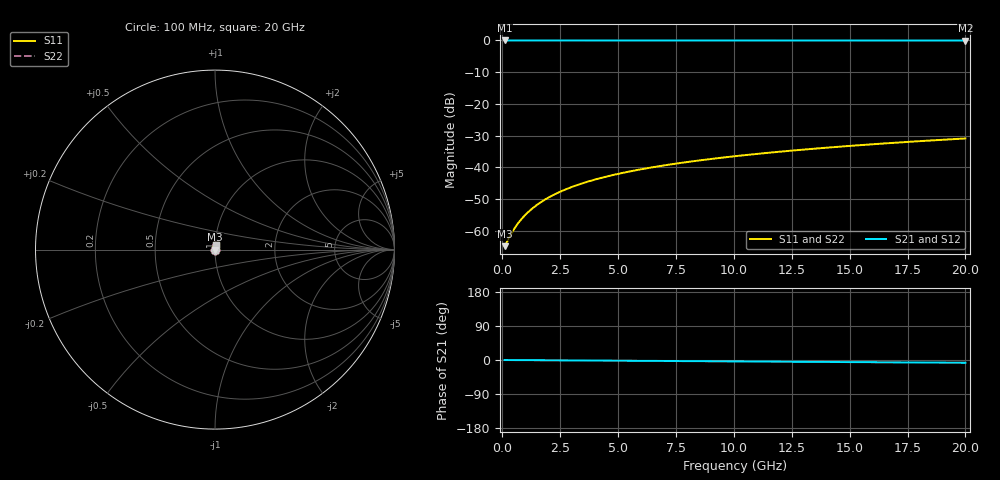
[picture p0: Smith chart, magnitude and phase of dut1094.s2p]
! Touchstone file exported from HFSS 2026.1.0
!  File:  C:/ffzhzh/LocalFiles/Ansys_Project_Files/temp_train_TSV_1094_1783190386_22436.aedt
!  Generated:  02:41:15 AM Jul  5, 2026
!  Design:  TSV
!  Project:  temp_train_TSV_1094_1783190386_22436
! Variables:
!  h_bsmrdl = 2um
!  h_ox = 20um
!  h_rdl = 5um
!  h_sub = 75.26um
!  h_tmrdl = 5um
!  h_tsv = 75.26um
!  h_via = 3um
!  l_bsmrdl = 300um
!  l_sub = 408.24um
!  l_tmrdl = 200um
!  m_sub = 200um
!  pitch = 22.85um
!  r_tsv = 4.12um
!  s_tmrdl = 10um
!  w_bsmrdl = 18um
!  w_sub = 500um
!  w_tmrdl = 12um
!  x_tsv_center1 = 206um
!  x_tsv_center2 = 524um
!  x_tsv_center3 = 736um
!  x_tsv_center4 = 1054um
!  x_tsv_center5 = 1266um
!  x_tsv_center6 = 1584um
# GHz S MA R 50.000000
! Terminal data exported
! Port[1] = TSV1_1_T1
! Port[2] = TSV1_1_T2
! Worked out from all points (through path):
!   200 points, 100 MHz to 20 GHz, reference 50 ohm
!   highest |S21| = 0.00 dB at 100 MHz (marker M1); lowest = 0.0 dB at 20 GHz (marker M2)
!   group delay of S21, straight-line fit = 1.01 ps
!   lowest |S11| = -64.9 dB at 100 MHz (marker M3), VSWR 1.00, Z = 50.1 + j0.0186 ohm
!   |S11| at or under -10 dB: start of sweep to end of sweep
!   |S22| runs from -64.9 to -30.9 dB; largest |S21 - S12| = 3e-15
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0.1  0.000571 19.0  0.9995 -0.0  0.9995 -0.0  0.000571 19.0
! Gamma 0 0 0 0
! Port Impedance 50 0 50 0
0.4  0.0009148 49.9  0.9994 -0.2  0.9994 -0.2  0.0009148 49.9
0.5  0.001052 55.0  0.9994 -0.2  0.9994 -0.2  0.001052 55.0
0.7  0.001338 62.0  0.9994 -0.3  0.9994 -0.3  0.001338 62.0
0.8  0.001485 64.6  0.9994 -0.3  0.9994 -0.3  0.001485 64.6
1  0.001786 68.3  0.9993 -0.4  0.9993 -0.4  0.001786 68.3
1.3  0.002248 72.0  0.9993 -0.5  0.9993 -0.5  0.002248 72.0
1.5  0.00256 73.7  0.9993 -0.6  0.9993 -0.6  0.00256 73.7
1.7  0.002872 74.9  0.9993 -0.6  0.9993 -0.6  0.002872 74.9
2.2  0.003654 76.9  0.9992 -0.8  0.9992 -0.8  0.003654 76.9
2.8  0.004584 78.1  0.9991 -1.1  0.9991 -1.1  0.004584 78.1
3.5  0.005652 78.9  0.999 -1.3  0.999 -1.3  0.005652 78.9
4.2  0.0067 79.2  0.9989 -1.6  0.9989 -1.6  0.0067 79.2
5  0.007874 79.4  0.9988 -1.9  0.9988 -1.9  0.007874 79.4
5.9  0.009171 79.5  0.9986 -2.2  0.9986 -2.2  0.009171 79.5
6.8  0.01045 79.6  0.9985 -2.5  0.9985 -2.5  0.01045 79.6
8.3  0.01255 79.5  0.9983 -3.1  0.9983 -3.1  0.01255 79.5
10.1  0.01504 79.4  0.9981 -3.7  0.9981 -3.7  0.01504 79.4
11.7  0.01723 79.3  0.9979 -4.3  0.9979 -4.3  0.01723 79.3
13.4  0.01956 79.0  0.9978 -4.9  0.9978 -4.9  0.01956 79.0
16.7  0.02405 78.4  0.9974 -6.1  0.9974 -6.1  0.02405 78.4
20  0.0285 77.6  0.9971 -7.3  0.9971 -7.3  0.0285 77.6
